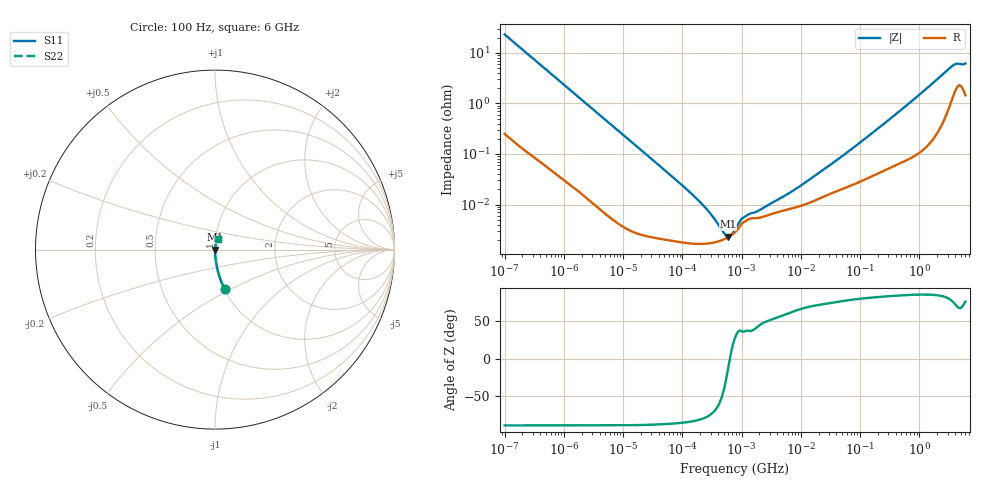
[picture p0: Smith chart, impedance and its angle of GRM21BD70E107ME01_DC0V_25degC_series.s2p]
!Murata Part Number: GRM21BD70E107ME01
!These Parameters are Measured in Series Mode Connection
!  o--ll--o
!Port1  Port2
!  o------o
!Operation Temp=25[degC], DC Bias Voltage=0[V]
!Freq. Start=100[Hz] Stop=6[GHz], 401[Steps]
!Data Generated on Dec 3, 2024
# Hz S RI R 50
!Freq.(Hz) S11(Real) S11(Imag) S21(Real) S21(Imag) S12(Real) S12(Imag) S22(Real) S22(Imag)
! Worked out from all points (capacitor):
!   401 points, 100 Hz to 6 GHz, reference 50 ohm
!   read as one part in series: C = 68.3 uF near 109.4 Hz
!   lowest |Z| = 2.3 mohm at 592.1 kHz (marker M1)
!   series resonance near 635 kHz, so ESL is about 920 pH
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100  0.0534 -0.2195  0.9466 0.2195  0.9466 0.2195  0.0534 -0.2195
109.3681  0.0453 -0.2026  0.9547 0.2026  0.9547 0.2026  0.0453 -0.2026
187.1696  0.0166 -0.1225  0.9834 0.1225  0.9834 0.1225  0.0166 -0.1225
334.9849  0.00567 -0.0695  0.9943 0.0695  0.9943 0.0695  0.00567 -0.0695
717.1279  0.00149 -0.0328  0.9985 0.0328  0.9985 0.0328  0.00149 -0.0328
2008.354  0.000301 -0.0118  0.9997 0.0118  0.9997 0.0118  0.000301 -0.0118
40334.87  2.15e-05 -0.000598  1 0.000598  1 0.000598  2.15e-05 -0.000598
108013.7  1.75e-05 -0.000219  1 0.000219  1 0.000219  1.75e-05 -0.000219
211426.6  1.66e-05 -0.000103  1 0.000103  1 0.000103  1.66e-05 -0.000103
241822  1.67e-05 -8.64e-05  1 8.64e-05  1 8.64e-05  1.67e-05 -8.64e-05
592111.3  2.24e-05 -5.28e-06  1 5.28e-06  1 5.28e-06  2.24e-05 -5.28e-06
774596.7  2.81e-05 1.5e-05  1 -1.5e-05  1 -1.5e-05  2.81e-05 1.5e-05
2594782  5.97e-05 7.04e-05  0.9999 -7.04e-05  0.9999 -7.04e-05  5.97e-05 7.04e-05
2967816  6.29e-05 7.92e-05  0.9999 -7.92e-05  0.9999 -7.92e-05  6.29e-05 7.92e-05
6644369  8.2e-05 0.000153  0.9999 -0.000153  0.9999 -0.000153  8.2e-05 0.000153
1.555665e7  0.000114 0.000321  0.9999 -0.000321  0.9999 -0.000321  0.000114 0.000321
5.960426e7  0.00022 0.00104  0.9998 -0.00104  0.9998 -0.00104  0.00022 0.00104
3.124326e8  0.000544 0.00481  0.9995 -0.00481  0.9995 -0.00481  0.000544 0.00481
1.000774e9  0.00127 0.0148  0.9987 -0.0148  0.9987 -0.0148  0.00127 0.0148
3.505958e9  0.0139 0.0514  0.9861 -0.0514  0.9861 -0.0514  0.0139 0.0514
4.193612e9  0.0223 0.0554  0.9777 -0.0554  0.9777 -0.0554  0.0223 0.0554
6e9  0.0177 0.0583  0.9823 -0.0583  0.9823 -0.0583  0.0177 0.0583
